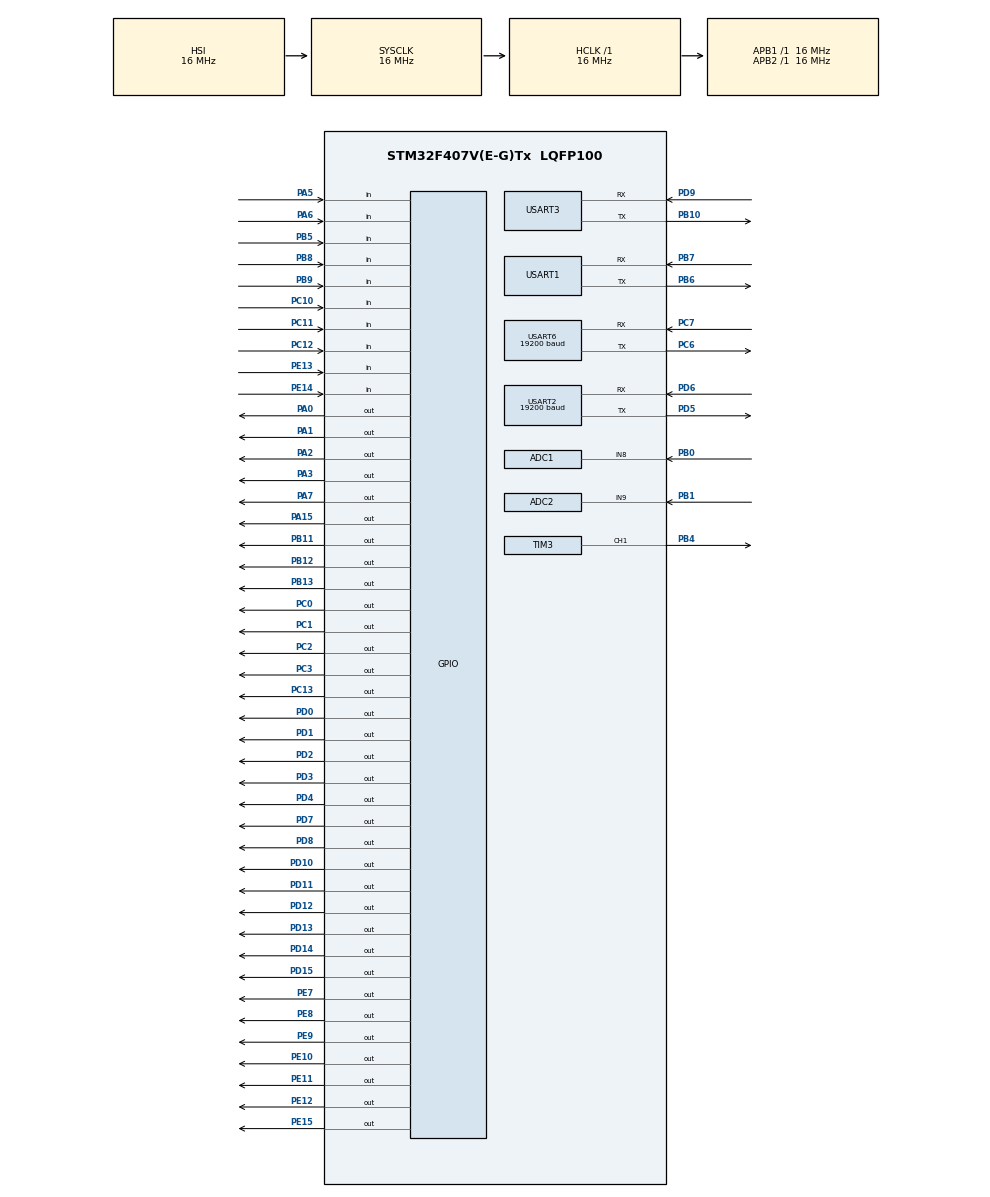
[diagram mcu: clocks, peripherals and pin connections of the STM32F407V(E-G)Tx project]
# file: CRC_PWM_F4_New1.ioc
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ADC1.Channel-0\#ChannelRegularConversion=ADC_CHANNEL_8
ADC1.NbrOfConversionFlag=1
ADC1.Rank-0\#ChannelRegularConversion=1
ADC1.SamplingTime-0\#ChannelRegularConversion=ADC_SAMPLETIME_3CYCLES
ADC1.master=1
ADC2.Channel-5\#ChannelRegularConversion=ADC_CHANNEL_9
ADC2.NbrOfConversionFlag=1
ADC2.Rank-5\#ChannelRegularConversion=1
ADC2.SamplingTime-5\#ChannelRegularConversion=ADC_SAMPLETIME_3CYCLES
Mcu.Family=STM32F4
Mcu.Name=STM32F407V(E-G)Tx
Mcu.Package=LQFP100
NVIC.PriorityGroup=NVIC_PRIORITYGROUP_4
NVIC.USART1_IRQn=true\:0\:0\:false\:false\:true\:true\:true
NVIC.USART2_IRQn=true\:0\:0\:false\:false\:true\:true\:true
NVIC.USART3_IRQn=true\:0\:0\:false\:false\:true\:true\:true
NVIC.USART6_IRQn=true\:0\:0\:false\:false\:true\:true\:true
PA0-WKUP.Signal=GPIO_Output
PA1.Signal=GPIO_Output
PA15.Signal=GPIO_Output
PA2.Signal=GPIO_Output
PA3.Signal=GPIO_Output
PA5.Signal=GPIO_Input
PA6.Signal=GPIO_Input
PA7.Signal=GPIO_Output
PB0.Signal=ADCx_IN8
PB1.Signal=ADCx_IN9
PB10.Mode=Asynchronous
PB10.Signal=USART3_TX
PB11.Signal=GPIO_Output
PB12.Signal=GPIO_Output
PB13.Signal=GPIO_Output
PB4.Signal=S_TIM3_CH1
PB5.Signal=GPIO_Input
PB6.Mode=Asynchronous
PB6.Signal=USART1_TX
PB7.Mode=Asynchronous
PB7.Signal=USART1_RX
PB8.Signal=GPIO_Input
PB9.Signal=GPIO_Input
PC0.Signal=GPIO_Output
PC1.Signal=GPIO_Output
PC10.Signal=GPIO_Input
PC11.Signal=GPIO_Input
PC12.Signal=GPIO_Input
PC13-ANTI_TAMP.Signal=GPIO_Output
PC2.Signal=GPIO_Output
PC3.Signal=GPIO_Output
PC6.Mode=Asynchronous
PC6.Signal=USART6_TX
PC7.Mode=Asynchronous
PC7.Signal=USART6_RX
PD0.Signal=GPIO_Output
PD1.Signal=GPIO_Output
PD10.Signal=GPIO_Output
PD11.Signal=GPIO_Output
PD12.Signal=GPIO_Output
PD13.Signal=GPIO_Output
PD14.Signal=GPIO_Output
PD15.Signal=GPIO_Output
PD2.Signal=GPIO_Output
PD3.Signal=GPIO_Output
PD4.Signal=GPIO_Output
PD5.Mode=Asynchronous
PD5.Signal=USART2_TX
PD6.Mode=Asynchronous
PD6.Signal=USART2_RX
PD7.Signal=GPIO_Output
PD8.Signal=GPIO_Output
PD9.Mode=Asynchronous
PD9.Signal=USART3_RX
PE10.Signal=GPIO_Output
PE11.Signal=GPIO_Output
PE12.Signal=GPIO_Output
PE13.Signal=GPIO_Input
PE14.Signal=GPIO_Input
PE15.Signal=GPIO_Output
PE7.Signal=GPIO_Output
PE8.Signal=GPIO_Output
PE9.Signal=GPIO_Output
ProjectManager.HeapSize=0x200
ProjectManager.StackSize=0x400
ProjectManager.TargetToolchain=TrueSTUDIO
RCC.AHBFreq_Value=16000000
RCC.APB1Freq_Value=16000000
RCC.APB2Freq_Value=16000000
RCC.CortexFreq_Value=16000000
RCC.HSE_VALUE=25000000
RCC.HSI_VALUE=16000000
RCC.LSE_VALUE=32768
RCC.SYSCLKFreq_VALUE=16000000
RCC.VCOOutputFreq_Value=192000000
SH.ADCx_IN8.0=ADC1_IN8,IN8
SH.ADCx_IN9.0=ADC2_IN9,IN9
SH.S_TIM3_CH1.0=TIM3_CH1,PWM Generation1 CH1
TIM3.Channel-PWM\ Generation1\ CH1=TIM_CHANNEL_1
TIM5.Channel-PWM\ Generation2\ CH2=TIM_CHANNEL_2
USART1.VirtualMode=VM_ASYNC
USART2.BaudRate=19200
USART2.VirtualMode=VM_ASYNC
USART3.VirtualMode=VM_ASYNC
USART6.BaudRate=19200
USART6.VirtualMode=VM_ASYNC
VP_CRC_VS_CRC.Mode=CRC_Activate
VP_TIM10_VS_ClockSourceINT.Mode=Enable_Timer
VP_TIM11_VS_ClockSourceINT.Mode=Enable_Timer
VP_TIM13_VS_ClockSourceINT.Mode=Enable_Timer
VP_TIM14_VS_ClockSourceINT.Mode=Enable_Timer
VP_TIM5_VS_OPM.Mode=OPM_bit
board=custom

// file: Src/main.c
/* USER CODE BEGIN Header */
/**
  ******************************************************************************
  * @file           : main.c
  * @brief          : Main program body
  ******************************************************************************
  * @attention
  *
  * <h2><center>&copy; Copyright (c) 2019 STMicroelectronics.
  * All rights reserved.</center></h2>
  *
  * This software component is licensed by ST under BSD 3-Clause license,
  * the "License"; You may not use this file except in compliance with the
  * License. You may obtain a copy of the License at:
  *                        opensource.org/licenses/BSD-3-Clause
  *
  ******************************************************************************
  */
/* USER CODE END Header */

#include "main.h"

ADC_HandleTypeDef hadc1;
ADC_HandleTypeDef hadc2;

CRC_HandleTypeDef hcrc;

TIM_HandleTypeDef htim3;
TIM_HandleTypeDef htim5;
TIM_HandleTypeDef htim10;
TIM_HandleTypeDef htim11;
TIM_HandleTypeDef htim13;
TIM_HandleTypeDef htim14;

UART_HandleTypeDef huart1;
UART_HandleTypeDef huart2;
UART_HandleTypeDef huart3;
UART_HandleTypeDef huart6;

/* USER CODE BEGIN PV */
/* Private variables ---------------------------------------------------------*/
 uint32_t TimingDelay;
uint32_t TimingDelay1;
uint32_t TimingDelay2;
 uint32_t TimingDelay3;
uint32_t TimingDelay4;
uint32_t TimingDelay5;

uint8_t aRxBuffer1[225];
uint8_t aRxBuffer3[225];
uint8_t aRxBuffer4[225];
uint8_t aRxBuffer[225];
int msgUnPrcd;
int msgUnPrcd1;
int msgUnPrcd3;
int msgUnPrcd4;

extern uint8_t RecMsg2[250];
extern uint8_t RecMsg4[250];
int signVal ;
uint8_t Data[100] ;
uint32_t CRCValue ;
extern uint32_t stringInt[25]; // string array to store messege received in uart
uint32_t crcbits;
char crcstring[4];
int commFlag;
int commFlag=0;
extern int slaveNo;
unsigned long AdcVal[17];
int pulse1=0;
extern uint8_t sideNo1;
extern uint8_t sideNo2;
extern uint8_t sideNo3;
extern uint8_t sideNo4;
extern uint8_t sideNo1N;
extern uint8_t sideNo2N;
extern uint8_t sideNo3N;
extern uint8_t sideNo4N;
/* USER CODE END PV */

void SystemClock_Config(void);
static void MX_GPIO_Init(void);
static void MX_USART1_UART_Init(void);
static void MX_USART3_UART_Init(void);
static void MX_USART6_UART_Init(void);
static void MX_TIM14_Init(void);
static void MX_TIM13_Init(void);
static void MX_TIM11_Init(void);
static void MX_TIM10_Init(void);
static void MX_CRC_Init(void);
static void MX_TIM5_Init(void);
static void MX_ADC2_Init(void);
static void MX_TIM3_Init(void);
static void MX_USART2_UART_Init(void);
static void MX_ADC1_Init(void);
/* USER CODE BEGIN PFP */
/* Private function prototypes -----------------------------------------------*/
static void setPWM(TIM_HandleTypeDef, uint32_t, uint16_t, uint16_t);
//extern void outputPin();
extern void inputPin();

void TimingDelay_Decrement();
void TimingDelay_Decrement1();
void TimingDelay_Decrement2();
void TimingDelay_Decrement3();
void TimingDelay_Decrement4();
void TimingDelay_Decrement5();
void SetAdcChannel(unsigned long AdcChannel);

extern uint32_t HAL_CRC_Calculate(CRC_HandleTypeDef *hcrc, uint32_t pBuffer[], uint32_t BufferLength);
extern void transferRecValues(int cnt);
extern void transferRecValuesToData(int cnt);
extern void function6();
extern void function10();
extern void function66();
extern void function6_A();
extern void transferRec1ValuesToData(int cnt);
void setPWMPin(uint8_t  pinValue,uint8_t  pinValue1,uint8_t pulse);
extern void clearingStringIntBuffer();
extern void clearingDataBuffer();
extern void clearBuffer();
extern void	clearaRxBuffer();
extern void byteToIntegerVal(char *dat,uint8_t index);
extern void slaveSelection();
extern void outputPin(uint8_t  pinValue,uint8_t  pinValue1);
extern short msgParse(uint8_t *SPtr , char *sigPtr , short pointer);
extern void checkSide();
extern void clearBuffer4();
extern void clearaRxBuffer4();
extern void checkFeedback();
extern void offAll();
extern void transferRecValuesToDataRecMsg2(int cnt);
/* USER CODE END PFP */

int main(void)
{

  /* MCU Configuration--------------------------------------------------------*/

  /* Reset of all peripherals, Initializes the Flash interface and the Systick. */
  HAL_Init();

  /* Configure the system clock */
  SystemClock_Config();

  /* Initialize all configured peripherals */
  MX_GPIO_Init();
  MX_USART1_UART_Init();
  MX_USART3_UART_Init();
  MX_USART6_UART_Init();
  MX_TIM14_Init();
  MX_TIM13_Init();
  MX_TIM11_Init();
  MX_TIM10_Init();
  MX_CRC_Init();
  MX_TIM5_Init();
  MX_ADC2_Init();
  MX_TIM3_Init();
  MX_USART2_UART_Init();
  MX_ADC1_Init();
  /* USER CODE BEGIN 2 */
//            HAL_UART_Receive_IT(&huart2, (uint8_t *)aRxBuffer,1); // everytime have to enable uart2 interrupt
         	HAL_UART_Receive_IT(&huart1, (uint8_t *)aRxBuffer1,1); // everytime have to enable uart2 interrupt
         	HAL_UART_Receive_IT(&huart3, (uint8_t *)aRxBuffer3,1); // everytime have to enable uart2 interrupt
//         	HAL_UART_Receive_IT(&huart4, (uint8_t *)aRxBuffer4,1); // everytime have to enable uart2 interrupt
//         	HAL_UART_Receive_IT(&huart5, (uint8_t *)aRxBuffer5,1); // everytime have to enable uart2 interrupt
         	 HAL_GPIO_WritePin(GPIOC, GPIO_PIN_13, GPIO_PIN_RESET);

         	HAL_GPIO_WritePin(GPIOC, GPIO_PIN_2, GPIO_PIN_SET);//G2
//         	HAL_GPIO_WritePin(GPIOC, GPIO_PIN_2, GPIO_PIN_RESET);//G2
         	HAL_GPIO_WritePin(GPIOA, GPIO_PIN_15, GPIO_PIN_SET);//G2
//         	HAL_GPIO_WritePin(GPIOA, GPIO_PIN_15, GPIO_PIN_RESET);//G2

         	slaveSelection();
  /* USER CODE END 2 */

  /* Infinite loop */
  /* USER CODE BEGIN WHILE */
  while (1)
  {
		HAL_UART_Receive_IT(&huart2, (uint8_t *)aRxBuffer4,1); // everytime have to enable uart2 interrupt

	  HAL_UART_Receive_IT(&huart6, (uint8_t *)aRxBuffer,1); // everytime have to enable uart6 interrupt
    /* USER CODE END WHILE */

    /* USER CODE BEGIN 3 */
//	  	  setPWM(htim14, TIM_CHANNEL_1, 255, 50);    //PA7
//	  	  setPWM(htim13, TIM_CHANNEL_1, 255, 50);    //PA6
//	  	  setPWM(htim12, TIM_CHANNEL_1, 255, 50);    //PB14
//	  	  setPWM(htim12, TIM_CHANNEL_2, 255, 50);   //PB15
//	  	  setPWM(htim11, TIM_CHANNEL_1, 255, 50);   //PB9
//	  	  setPWM(htim10, TIM_CHANNEL_1, 255, 50);  //PB8
//	  	  setPWM(htim9, TIM_CHANNEL_1, 255, 50);   //PE5
//	  	  setPWM(htim9, TIM_CHANNEL_2, 255, 50);   //PE6
//	  	     HAL_Delay(3000);
//
//	  	      setPWM(htim14, TIM_CHANNEL_1, 255, 100);    //PA7
//	  	      setPWM(htim13, TIM_CHANNEL_1, 255, 100);    //PA6
//	  		  setPWM(htim12, TIM_CHANNEL_1, 255, 100);    //PB14
//	  		  setPWM(htim12, TIM_CHANNEL_2, 255, 100);   //PB15
//	  		  setPWM(htim11, TIM_CHANNEL_1, 255, 100);   //PB9
//	  		  setPWM(htim10, TIM_CHANNEL_1, 255, 100);  //PB8
//	  		  setPWM(htim9, TIM_CHANNEL_1, 255, 100);   //PE5
//	  		  setPWM(htim9, TIM_CHANNEL_2, 255, 100);   //PE6
//	  		  HAL_Delay(3000);
//
//	  			      setPWM(htim14, TIM_CHANNEL_1, 255, 150);    //PA7
//	  			      setPWM(htim13, TIM_CHANNEL_1, 255, 150);    //PA6
//	  				  setPWM(htim12, TIM_CHANNEL_1, 255, 150);    //PB14
//	  				  setPWM(htim12, TIM_CHANNEL_2, 255, 150);   //PB15
//	  				  setPWM(htim11, TIM_CHANNEL_1, 255, 150);   //PB9
//	  				  setPWM(htim10, TIM_CHANNEL_1, 255, 150);  //PB8
//	  				  setPWM(htim9, TIM_CHANNEL_1, 255, 150);   //PE5
//	  				  setPWM(htim9, TIM_CHANNEL_2, 255, 150);   //PE6
//	  				  HAL_Delay(3000);
//
//	  					      setPWM(htim14, TIM_CHANNEL_1, 255, 200);    //PA7
//	  					      setPWM(htim13, TIM_CHANNEL_1, 255, 200);    //PA6
//	  						  setPWM(htim12, TIM_CHANNEL_1, 255, 200);    //PB14
//	  						  setPWM(htim12, TIM_CHANNEL_2, 255, 200);   //PB15
//	  						  setPWM(htim11, TIM_CHANNEL_1, 255, 200);   //PB9
//	  						  setPWM(htim10, TIM_CHANNEL_1, 255, 200);  //PB8
//	  						  setPWM(htim9, TIM_CHANNEL_1, 255, 200);   //PE5
//	  						  setPWM(htim9, TIM_CHANNEL_2, 255, 200);   //PE6
//	  						  HAL_Delay(3000);
//
//	  							      setPWM(htim14, TIM_CHANNEL_1, 255, 250);    //PA7
//	  							      setPWM(htim13, TIM_CHANNEL_1, 255, 250);    //PA6
//	  								  setPWM(htim12, TIM_CHANNEL_1, 255, 250);    //PB14
//	  								  setPWM(htim12, TIM_CHANNEL_2, 255, 250);   //PB15
//	  								  setPWM(htim11, TIM_CHANNEL_1, 255, 250);   //PB9
//	  								  setPWM(htim10, TIM_CHANNEL_1, 255, 250);  //PB8
//	  								  setPWM(htim9, TIM_CHANNEL_1, 255, 250);   //PE5
//	  								  setPWM(htim9, TIM_CHANNEL_2, 255, 250);   //PE6
//	  								  HAL_Delay(3000);

//	  checkFeedback();
//	  /*----------------------------slave1 new-----------------------------------------*/
////	 /*uart6*/
//	if(msgUnPrcd==1)
//	 /*uart2*/
	if(msgUnPrcd4==1)
	{

//	functionRec=0;
	signVal=msgParse((uint8_t *)RecMsg4,"}}",0); //for slave
	//					  		signVal=msgParse((uint8_t *)RecMsg2,"~~~~",0);  //for master
	if(!(signVal==0))
	{
      transferRecValuesToData(19);
	  byteToIntegerVal(&Data[0],0);
	  CRCValue = HAL_CRC_Calculate(&hcrc,(uint32_t *)stringInt, 8);
	  crcbits =	CRCValue;

	  crcstring[0] = crcbits & 0xFF;

	  crcstring[1] = (crcbits >> 8) & 0xFF;

	  crcstring[2] = (crcbits >> 16) & 0xFF;

	  crcstring[3] = (crcbits >> 24) & 0xFF;
	  //					  		CRC_ResetDR();
	  /*-------------------------slave side-----------------------------------*/
	 //					  		if(RecMsg2[10] == crcstring[3])
	 //					  		{
	 //					  		if(RecMsg2[11] == crcstring[2])
	 //					  		{
	 //					  		if(RecMsg2[12] == crcstring[1])
	 //					  		{
	 //					  		if(RecMsg2[13] == crcstring[0])
	 if(RecMsg4[20] == crcstring[3])
	 {
	if(RecMsg4[21] == crcstring[2])
	 {
	 if(RecMsg4[22] == crcstring[1])
	 {
	 if(RecMsg4[23] == crcstring[0]){

		 if(RecMsg4[10]==slaveNo)
		 {
	HAL_GPIO_TogglePin(GPIOE, GPIO_PIN_3);//master
//	function6_A();//usart6
			 checkSide();
			 if(slaveNo==1){
			 setPWMPin(sideNo1,sideNo3,RecMsg4[8]);//pin1 pin2 pwm
			 }
			 if(slaveNo==2){
			 setPWMPin(sideNo1,sideNo2,RecMsg4[8]);//pin1 pin2 pwm
			 }
			 if(slaveNo==3){
//			 setPWMPin(sideNo3N,sideNo3N,RecMsg4[8]);//pin1 pin2 pwm
//				 setPWMPin(sideNo3N,sideNo3N,RecMsg4[8]);//pin1 pin2 pwm
				 setPWMPin(sideNo3N,sideNo3N,RecMsg4[8]);//pin1 pin2 pwm
			 }
			 if(slaveNo==4){
			 setPWMPin(sideNo4,sideNo4,RecMsg4[8]);//pin1 pin2 pwm
			 }

			 checkFeedback();
	function10();

		 }
//	millisec1=0;
	commFlag=1;

		  			//function6_A(); ///slave1
	 /*---------master-----------*/
	//						  			if(commFlag==0)
	//						  			{
	//						  			function6(); //master
	//						  			}
	//						  			if(RecMsg2[9]==0x09){
	////						  				function66();
   //						  				commFlag=1;
   //						  			}
	  	  }

	  	}
	  	 }
	  	 }
	  	  		 // clearingRecBuffer();
	  	//						  		commFlag=1;
//	  	  	sec=0;
	  	  	msgUnPrcd4=0;

	  	  	}

	 //		  			  	signVal=msgParse((uint8_t *)RecMsg2,"~~~~",0);
	  	 //		  			  if (!(signVal == 0 )){
	  	 //		  			  			// transferDataValues(signVal);
	  	//		  				checkMsgLengthForUart2();
	  	//		  			  	HAL_UART_Transmit (&huart1, (uint8_t*)RecMsg2,recCnt1,5000) ;
	  	  		//		  			  		  			  		}
	    clearBuffer4();
	    clearaRxBuffer4();
	    msgUnPrcd4=0;
	  	//	transmit();
     }

/*-------------------------LORA (uart6)-----------------------*/
	if(msgUnPrcd==1)
	{

//	functionRec=0;
	signVal=msgParse((uint8_t *)RecMsg2,"}}",0); //for slave
	//					  		signVal=msgParse((uint8_t *)RecMsg2,"~~~~",0);  //for master
	if(!(signVal==0))
	{
	  transferRecValuesToDataRecMsg2(19);
	  byteToIntegerVal(&Data[0],0);
	  CRCValue = HAL_CRC_Calculate(&hcrc,(uint32_t *)stringInt, 8);
	  crcbits =	CRCValue;

	  crcstring[0] = crcbits & 0xFF;

	  crcstring[1] = (crcbits >> 8) & 0xFF;

	  crcstring[2] = (crcbits >> 16) & 0xFF;

	  crcstring[3] = (crcbits >> 24) & 0xFF;
	  //					  		CRC_ResetDR();
	  /*-------------------------slave side-----------------------------------*/
	 //					  		if(RecMsg2[10] == crcstring[3])
	 //					  		{
	 //					  		if(RecMsg2[11] == crcstring[2])
	 //					  		{
	 //					  		if(RecMsg2[12] == crcstring[1])
	 //					  		{
	 //					  		if(RecMsg2[13] == crcstring[0])
	 if(RecMsg2[20] == crcstring[3])
	 {
	if(RecMsg2[21] == crcstring[2])
	 {
	 if(RecMsg2[22] == crcstring[1])
	 {
	 if(RecMsg2[23] == crcstring[0]){

		 if(RecMsg2[10]==slaveNo)
		 {
	HAL_GPIO_TogglePin(GPIOE, GPIO_PIN_3);//master
//	function6_A();//usart6
			 checkSide();
			 if(slaveNo==1){
			 setPWMPin(sideNo1,sideNo3,RecMsg2[8]);//pin1 pin2 pwm
			 }
			 if(slaveNo==2){
			 setPWMPin(sideNo2,sideNo4,RecMsg2[8]);//pin1 pin2 pwm
			 }
			 if(slaveNo==3){
//			 setPWMPin(sideNo3N,sideNo3N,RecMsg4[8]);//pin1 pin2 pwm
				 setPWMPin(sideNo3,sideNo1,RecMsg2[8]);//pin1 pin2 pwm
			 }
			 if(slaveNo==4){
			 setPWMPin(sideNo4,sideNo2,RecMsg2[8]);//pin1 pin2 pwm
			 }

			 checkFeedback();
	function10();

		 }
//	millisec1=0;
	commFlag=1;

		  			//function6_A(); ///slave1
	 /*---------master-----------*/
	//						  			if(commFlag==0)
	//						  			{
	//						  			function6(); //master
	//						  			}
	//						  			if(RecMsg2[9]==0x09){
	////						  				function66();
   //						  				commFlag=1;
   //						  			}
	  	  }

	  	}
	  	 }
	  	 }
	  	  		 // clearingRecBuffer();
	  	//						  		commFlag=1;
//	  	  	sec=0;
	  	  	msgUnPrcd=0;

	  	  	}

	 //		  			  	signVal=msgParse((uint8_t *)RecMsg2,"~~~~",0);
	  	 //		  			  if (!(signVal == 0 )){
	  	 //		  			  			// transferDataValues(signVal);
	  	//		  				checkMsgLengthForUart2();
	  	//		  			  	HAL_UART_Transmit (&huart1, (uint8_t*)RecMsg2,recCnt1,5000) ;
	  	  		//		  			  		  			  		}
	    clearBuffer();
	    clearaRxBuffer();
	    msgUnPrcd=0;
	  	//	transmit();
     }

	   if(commFlag==1){
//	  	  function66();
	  	 commFlag++;
	  	 }

	   if(commFlag==3){
	  		commFlag=0;
	   }

///*--------------------------------------------slave2-----------------------------------------*/
//	  /*uart1 PA10 & PA9*/
//	 	if(msgUnPrcd1==1)
//	  	{
//
//
//	  	  signVal=msgParse((uint8_t *)RecMsg1,"}",0); //for slave
//	//					  		signVal=msgParse((uint8_t *)RecMsg2,"~~~~",0);  //for master
//	  	if(!(signVal==0))
//	  	{
//	  		signVal=signVal-6;
//	  	  	transferRec1ValuesToData(signVal);
////	  	  Data[0]=0x01 ;//Timming
////	  	Data[1]=0x01 ;//intensity
////	  	Data[2]=0x02;//GPO
////	  	Data[3]=0x03;//TBD
////	  	Data[4]=0x05;//TBD
////	  	Data[5]=0x04;//TBD
////	  	  transferRec1ValuesToData(0);
//	  	    byteToIntegerVal(&Data[0],0);
//	  	  	CRCValue = HAL_CRC_Calculate(&hcrc,(uint32_t *)stringInt, 8);
//	  	  	crcbits =	CRCValue;
//
//	  	  	crcstring[0] = crcbits & 0xFF;
//
//	  	    crcstring[1] = (crcbits >> 8) & 0xFF;
//
//	  	    crcstring[2] = (crcbits >> 16) & 0xFF;
//
//	  	   crcstring[3] = (crcbits >> 24) & 0xFF;
//	  	//					  		CRC_ResetDR();
//	   /*-------------------------slave side-----------------------------------*/
//	 //					  		if(RecMsg2[10] == crcstring[3])
//	 //					  		{
//	 //					  		if(RecMsg2[11] == crcstring[2])
//	//					  		{
//	//					  		if(RecMsg2[12] == crcstring[1])
//	//					  		{
//	//					  		if(RecMsg2[13] == crcstring[0])
//	/*-------------------------master side----------------------------------*/
////	  	 function66();
//	  	if(RecMsg1[6] == crcstring[3])
//	  	  {
//	    if(RecMsg1[7] == crcstring[2])
//	  	  {
//	  	if(RecMsg1[8] == crcstring[1])
//	  	  {
//	    if(RecMsg1[9] == crcstring[0]){
//	  	//					  			function6_A(); ///slave
//	 HAL_GPIO_TogglePin(GPIOC, GPIO_PIN_8);//master
//	 //			  			function66();//slave2
//	//				  			if(RecMsg1[9]==0x08){ //slave1
//	//				  				commFlag=0x04;
////	  		if((commFlag>1)&&(commFlag<3)){
//	  	  	function66();
//	  	  pinValue1=RecMsg1[0];
//		  pinValue2=RecMsg1[1];
//	  	  pulseVal =RecMsg1[2];
//	  	  	if((pulseVal != pulseValLast)||(pinValue1 !=pinValue1Last)||(pinValue2 !=pinValue2Last))
//	  	  	{
//	  	  	pulseValLast=pulseVal;
//	  	  pinValue1Last=pinValue1;
//	  	pinValue2Last=pinValue2;
//
////	  	  pulseCnt++;
////	  	  if(pulseCnt>15){
////	  		pulseVal=0;
////	  		pulseVal=pulseVal+25;
//	  		setPWMPin(RecMsg1[0],RecMsg1[1],RecMsg1[2]);
//	  	  	}
////	  		if(pulseVal>250){
////	  			  		pulseVal=25;
////	  			  	}
////	  		pulseCnt=0;
////	  	  }
//
////	  	setPWMPin(pulseVal);
////	  	pulseVal=pulseVal+2;
////	  	if(pulseVal==250){
////	  		pulseVal=2;
////	  	}
////	  	  commFlag++;
//
////	  	}
//
//	  	  									       	//				  			}
//
//	  	  									       					  			//function6(); //master
//	  	  									       		//			  			if(RecMsg2[9]==0x09){
//	  	  									       		//			  				function66();
//	  	  									       		//			  			}
//	  	  									       					  		}
//
//	  	  									       				  		}
//	  	  									       				  		}
//	  	  									       				  		}
//	  	  									       				  		 // clearingRecBuffer();
//	  	  									       					  	//	commFlag=1;
//	  	  									       					  		sec=0;
//	  	  									       					  		msgUnPrcd1=0;
//
//	  	  									       				  				}
//
//
//
////	  	clearingStringIntBuffer();
//	  	clearingDataBuffer();
//	  	clearBuffer1();
//	  	clearaRxBuffer1();
//	  	msgUnPrcd1=0;
//	  	  									       							//	transmit();
//	  	}
//
//	 	/*--------------------------------------------slave2-----------------------------------------*/
/*-------------------ADC---------------------------*/

//	   HAL_GPIO_WritePin(GPIOE, GPIO_PIN_7, GPIO_PIN_RESET);//a
//	   HAL_GPIO_WritePin(GPIOE, GPIO_PIN_8, GPIO_PIN_SET);//b
//	   HAL_GPIO_WritePin(GPIOE, GPIO_PIN_9, GPIO_PIN_SET);//c
////for channel 6
//
//	   SetAdcChannel(ADC_CHANNEL_9);
//	   HAL_ADC_Start(&hadc2);
//	   HAL_ADC_PollForConversion(&hadc2,100);
//
//
//
//	   AdcVal = HAL_ADC_GetValue(&hadc2);

  /* USER CODE BEGIN 3 */

  }
  /* USER CODE END 3 */
}

void SystemClock_Config(void)
{
  RCC_OscInitTypeDef RCC_OscInitStruct = {0};
  RCC_ClkInitTypeDef RCC_ClkInitStruct = {0};

  /** Configure the main internal regulator output voltage
  */
  __HAL_RCC_PWR_CLK_ENABLE();
  __HAL_PWR_VOLTAGESCALING_CONFIG(PWR_REGULATOR_VOLTAGE_SCALE1);
  /** Initializes the CPU, AHB and APB busses clocks
  */
  RCC_OscInitStruct.OscillatorType = RCC_OSCILLATORTYPE_HSI;
  RCC_OscInitStruct.HSIState = RCC_HSI_ON;
  RCC_OscInitStruct.HSICalibrationValue = RCC_HSICALIBRATION_DEFAULT;
  RCC_OscInitStruct.PLL.PLLState = RCC_PLL_NONE;
  if (HAL_RCC_OscConfig(&RCC_OscInitStruct) != HAL_OK)
  {
    Error_Handler();
  }
  /** Initializes the CPU, AHB and APB busses clocks
  */
  RCC_ClkInitStruct.ClockType = RCC_CLOCKTYPE_HCLK|RCC_CLOCKTYPE_SYSCLK
                              |RCC_CLOCKTYPE_PCLK1|RCC_CLOCKTYPE_PCLK2;
  RCC_ClkInitStruct.SYSCLKSource = RCC_SYSCLKSOURCE_HSI;
  RCC_ClkInitStruct.AHBCLKDivider = RCC_SYSCLK_DIV1;
  RCC_ClkInitStruct.APB1CLKDivider = RCC_HCLK_DIV1;
  RCC_ClkInitStruct.APB2CLKDivider = RCC_HCLK_DIV1;

  if (HAL_RCC_ClockConfig(&RCC_ClkInitStruct, FLASH_LATENCY_0) != HAL_OK)
  {
    Error_Handler();
  }
}

static void MX_ADC1_Init(void)
{

  ADC_ChannelConfTypeDef sConfig = {0};

  /** Configure the global features of the ADC (Clock, Resolution, Data Alignment and number of conversion)
  */
  hadc1.Instance = ADC1;
  hadc1.Init.ClockPrescaler = ADC_CLOCK_SYNC_PCLK_DIV2;
  hadc1.Init.Resolution = ADC_RESOLUTION_12B;
  hadc1.Init.ScanConvMode = DISABLE;
  hadc1.Init.ContinuousConvMode = DISABLE;
  hadc1.Init.DiscontinuousConvMode = DISABLE;
  hadc1.Init.ExternalTrigConvEdge = ADC_EXTERNALTRIGCONVEDGE_NONE;
  hadc1.Init.ExternalTrigConv = ADC_SOFTWARE_START;
  hadc1.Init.DataAlign = ADC_DATAALIGN_RIGHT;
  hadc1.Init.NbrOfConversion = 1;
  hadc1.Init.DMAContinuousRequests = DISABLE;
  hadc1.Init.EOCSelection = ADC_EOC_SINGLE_CONV;
  if (HAL_ADC_Init(&hadc1) != HAL_OK)
  {
    Error_Handler();
  }
  /** Configure for the selected ADC regular channel its corresponding rank in the sequencer and its sample time.
  */
  sConfig.Channel = ADC_CHANNEL_8;
  sConfig.Rank = 1;
  sConfig.SamplingTime = ADC_SAMPLETIME_3CYCLES;
  if (HAL_ADC_ConfigChannel(&hadc1, &sConfig) != HAL_OK)
  {
    Error_Handler();
  }

}

static void MX_ADC2_Init(void)
{

  ADC_ChannelConfTypeDef sConfig = {0};

  /** Configure the global features of the ADC (Clock, Resolution, Data Alignment and number of conversion)
  */
  hadc2.Instance = ADC2;
  hadc2.Init.ClockPrescaler = ADC_CLOCK_SYNC_PCLK_DIV2;
  hadc2.Init.Resolution = ADC_RESOLUTION_12B;
  hadc2.Init.ScanConvMode = DISABLE;
  hadc2.Init.ContinuousConvMode = DISABLE;
  hadc2.Init.DiscontinuousConvMode = DISABLE;
  hadc2.Init.ExternalTrigConvEdge = ADC_EXTERNALTRIGCONVEDGE_NONE;
  hadc2.Init.ExternalTrigConv = ADC_SOFTWARE_START;
  hadc2.Init.DataAlign = ADC_DATAALIGN_RIGHT;
  hadc2.Init.NbrOfConversion = 1;
  hadc2.Init.DMAContinuousRequests = DISABLE;
  hadc2.Init.EOCSelection = ADC_EOC_SINGLE_CONV;
  if (HAL_ADC_Init(&hadc2) != HAL_OK)
  {
    Error_Handler();
  }
  /** Configure for the selected ADC regular channel its corresponding rank in the sequencer and its sample time.
  */
  sConfig.Channel = ADC_CHANNEL_9;
  sConfig.Rank = 1;
  sConfig.SamplingTime = ADC_SAMPLETIME_3CYCLES;
  if (HAL_ADC_ConfigChannel(&hadc2, &sConfig) != HAL_OK)
  {
    Error_Handler();
  }

}

static void MX_CRC_Init(void)
{

  hcrc.Instance = CRC;
  if (HAL_CRC_Init(&hcrc) != HAL_OK)
  {
    Error_Handler();
  }

}

static void MX_TIM3_Init(void)
{

  TIM_MasterConfigTypeDef sMasterConfig = {0};
  TIM_OC_InitTypeDef sConfigOC = {0};

  htim3.Instance = TIM3;
  htim3.Init.Prescaler = 0;
  htim3.Init.CounterMode = TIM_COUNTERMODE_UP;
  htim3.Init.Period = 0;
  htim3.Init.ClockDivision = TIM_CLOCKDIVISION_DIV1;
  htim3.Init.AutoReloadPreload = TIM_AUTORELOAD_PRELOAD_DISABLE;
  if (HAL_TIM_PWM_Init(&htim3) != HAL_OK)
  {
    Error_Handler();
  }
  sMasterConfig.MasterOutputTrigger = TIM_TRGO_RESET;
  sMasterConfig.MasterSlaveMode = TIM_MASTERSLAVEMODE_DISABLE;
  if (HAL_TIMEx_MasterConfigSynchronization(&htim3, &sMasterConfig) != HAL_OK)
  {
    Error_Handler();
  }
  sConfigOC.OCMode = TIM_OCMODE_PWM1;
  sConfigOC.Pulse = 0;
  sConfigOC.OCPolarity = TIM_OCPOLARITY_HIGH;
  sConfigOC.OCFastMode = TIM_OCFAST_DISABLE;
  if (HAL_TIM_PWM_ConfigChannel(&htim3, &sConfigOC, TIM_CHANNEL_1) != HAL_OK)
  {
    Error_Handler();
  }
  HAL_TIM_MspPostInit(&htim3);

}

static void MX_TIM5_Init(void)
{

  htim5.Instance = TIM5;
  htim5.Init.Prescaler = 0;
  htim5.Init.CounterMode = TIM_COUNTERMODE_UP;
  htim5.Init.Period = 0;
  htim5.Init.ClockDivision = TIM_CLOCKDIVISION_DIV1;
  htim5.Init.AutoReloadPreload = TIM_AUTORELOAD_PRELOAD_DISABLE;
  if (HAL_TIM_OnePulse_Init(&htim5, TIM_OPMODE_SINGLE) != HAL_OK)
  {
    Error_Handler();
  }

}

static void MX_TIM10_Init(void)
{

  htim10.Instance = TIM10;
  htim10.Init.Prescaler = 0;
  htim10.Init.CounterMode = TIM_COUNTERMODE_UP;
  htim10.Init.Period = 0;
  htim10.Init.ClockDivision = TIM_CLOCKDIVISION_DIV1;
  htim10.Init.AutoReloadPreload = TIM_AUTORELOAD_PRELOAD_DISABLE;
  if (HAL_TIM_Base_Init(&htim10) != HAL_OK)
  {
    Error_Handler();
  }

}

static void MX_TIM11_Init(void)
{

  htim11.Instance = TIM11;
  htim11.Init.Prescaler = 0;
  htim11.Init.CounterMode = TIM_COUNTERMODE_UP;
  htim11.Init.Period = 0;
  htim11.Init.ClockDivision = TIM_CLOCKDIVISION_DIV1;
  htim11.Init.AutoReloadPreload = TIM_AUTORELOAD_PRELOAD_DISABLE;
  if (HAL_TIM_Base_Init(&htim11) != HAL_OK)
  {
    Error_Handler();
  }

}

static void MX_TIM13_Init(void)
{

  htim13.Instance = TIM13;
  htim13.Init.Prescaler = 0;
  htim13.Init.CounterMode = TIM_COUNTERMODE_UP;
  htim13.Init.Period = 0;
  htim13.Init.ClockDivision = TIM_CLOCKDIVISION_DIV1;
  htim13.Init.AutoReloadPreload = TIM_AUTORELOAD_PRELOAD_DISABLE;
  if (HAL_TIM_Base_Init(&htim13) != HAL_OK)
  {
    Error_Handler();
  }

}

static void MX_TIM14_Init(void)
{

  htim14.Instance = TIM14;
  htim14.Init.Prescaler = 0;
  htim14.Init.CounterMode = TIM_COUNTERMODE_UP;
  htim14.Init.Period = 0;
  htim14.Init.ClockDivision = TIM_CLOCKDIVISION_DIV1;
  htim14.Init.AutoReloadPreload = TIM_AUTORELOAD_PRELOAD_DISABLE;
  if (HAL_TIM_Base_Init(&htim14) != HAL_OK)
  {
    Error_Handler();
  }

}

static void MX_USART1_UART_Init(void)
{

  huart1.Instance = USART1;
  huart1.Init.BaudRate = 115200;
  huart1.Init.WordLength = UART_WORDLENGTH_8B;
  huart1.Init.StopBits = UART_STOPBITS_1;
  huart1.Init.Parity = UART_PARITY_NONE;
  huart1.Init.Mode = UART_MODE_TX_RX;
  huart1.Init.HwFlowCtl = UART_HWCONTROL_NONE;
  huart1.Init.OverSampling = UART_OVERSAMPLING_16;
  if (HAL_UART_Init(&huart1) != HAL_OK)
  {
    Error_Handler();
  }

}

static void MX_USART2_UART_Init(void)
{

  huart2.Instance = USART2;
  huart2.Init.BaudRate = 19200;
  huart2.Init.WordLength = UART_WORDLENGTH_8B;
  huart2.Init.StopBits = UART_STOPBITS_1;
  huart2.Init.Parity = UART_PARITY_NONE;
  huart2.Init.Mode = UART_MODE_TX_RX;
  huart2.Init.HwFlowCtl = UART_HWCONTROL_NONE;
  huart2.Init.OverSampling = UART_OVERSAMPLING_16;
  if (HAL_UART_Init(&huart2) != HAL_OK)
  {
    Error_Handler();
  }

}

static void MX_USART3_UART_Init(void)
{

  huart3.Instance = USART3;
  huart3.Init.BaudRate = 115200;
  huart3.Init.WordLength = UART_WORDLENGTH_8B;
  huart3.Init.StopBits = UART_STOPBITS_1;
  huart3.Init.Parity = UART_PARITY_NONE;
  huart3.Init.Mode = UART_MODE_TX_RX;
  huart3.Init.HwFlowCtl = UART_HWCONTROL_NONE;
  huart3.Init.OverSampling = UART_OVERSAMPLING_16;
  if (HAL_UART_Init(&huart3) != HAL_OK)
  {
    Error_Handler();
  }

}

static void MX_USART6_UART_Init(void)
{

  huart6.Instance = USART6;
  huart6.Init.BaudRate = 19200;
  huart6.Init.WordLength = UART_WORDLENGTH_8B;
  huart6.Init.StopBits = UART_STOPBITS_1;
  huart6.Init.Parity = UART_PARITY_NONE;
  huart6.Init.Mode = UART_MODE_TX_RX;
  huart6.Init.HwFlowCtl = UART_HWCONTROL_NONE;
  huart6.Init.OverSampling = UART_OVERSAMPLING_16;
  if (HAL_UART_Init(&huart6) != HAL_OK)
  {
    Error_Handler();
  }

}

static void MX_GPIO_Init(void)
{
  GPIO_InitTypeDef GPIO_InitStruct = {0};

  /* GPIO Ports Clock Enable */
  __HAL_RCC_GPIOC_CLK_ENABLE();
  __HAL_RCC_GPIOA_CLK_ENABLE();
  __HAL_RCC_GPIOB_CLK_ENABLE();
  __HAL_RCC_GPIOE_CLK_ENABLE();
  __HAL_RCC_GPIOD_CLK_ENABLE();

  /*Configure GPIO pin Output Level */
  HAL_GPIO_WritePin(GPIOC, GPIO_PIN_13|GPIO_PIN_0|GPIO_PIN_1|GPIO_PIN_2
                          |GPIO_PIN_3, GPIO_PIN_RESET);

  /*Configure GPIO pin Output Level */
  HAL_GPIO_WritePin(GPIOA, GPIO_PIN_0|GPIO_PIN_1|GPIO_PIN_2|GPIO_PIN_3
                          |GPIO_PIN_7|GPIO_PIN_15, GPIO_PIN_RESET);

  /*Configure GPIO pin Output Level */
  HAL_GPIO_WritePin(GPIOE, GPIO_PIN_7|GPIO_PIN_8|GPIO_PIN_9|GPIO_PIN_10
                          |GPIO_PIN_11|GPIO_PIN_12|GPIO_PIN_15, GPIO_PIN_RESET);

  /*Configure GPIO pin Output Level */
  HAL_GPIO_WritePin(GPIOB, GPIO_PIN_11|GPIO_PIN_12|GPIO_PIN_13, GPIO_PIN_RESET);

  /*Configure GPIO pin Output Level */
  HAL_GPIO_WritePin(GPIOD, GPIO_PIN_8|GPIO_PIN_10|GPIO_PIN_11|GPIO_PIN_12
                          |GPIO_PIN_13|GPIO_PIN_14|GPIO_PIN_15|GPIO_PIN_0
                          |GPIO_PIN_1|GPIO_PIN_2|GPIO_PIN_3|GPIO_PIN_4
                          |GPIO_PIN_7, GPIO_PIN_RESET);

  /*Configure GPIO pins : PC13 PC0 PC1 PC2
                           PC3 */
  GPIO_InitStruct.Pin = GPIO_PIN_13|GPIO_PIN_0|GPIO_PIN_1|GPIO_PIN_2
                          |GPIO_PIN_3;
  GPIO_InitStruct.Mode = GPIO_MODE_OUTPUT_PP;
  GPIO_InitStruct.Pull = GPIO_NOPULL;
  GPIO_InitStruct.Speed = GPIO_SPEED_FREQ_LOW;
  HAL_GPIO_Init(GPIOC, &GPIO_InitStruct);

  /*Configure GPIO pins : PA0 PA1 PA2 PA3
                           PA7 PA15 */
  GPIO_InitStruct.Pin = GPIO_PIN_0|GPIO_PIN_1|GPIO_PIN_2|GPIO_PIN_3
                          |GPIO_PIN_7|GPIO_PIN_15;
  GPIO_InitStruct.Mode = GPIO_MODE_OUTPUT_PP;
  GPIO_InitStruct.Pull = GPIO_NOPULL;
  GPIO_InitStruct.Speed = GPIO_SPEED_FREQ_LOW;
  HAL_GPIO_Init(GPIOA, &GPIO_InitStruct);

  /*Configure GPIO pins : PA5 PA6 */
  GPIO_InitStruct.Pin = GPIO_PIN_5|GPIO_PIN_6;
  GPIO_InitStruct.Mode = GPIO_MODE_INPUT;
  GPIO_InitStruct.Pull = GPIO_NOPULL;
  HAL_GPIO_Init(GPIOA, &GPIO_InitStruct);

  /*Configure GPIO pins : PE7 PE8 PE9 PE10
                           PE11 PE12 PE15 */
  GPIO_InitStruct.Pin = GPIO_PIN_7|GPIO_PIN_8|GPIO_PIN_9|GPIO_PIN_10
                          |GPIO_PIN_11|GPIO_PIN_12|GPIO_PIN_15;
  GPIO_InitStruct.Mode = GPIO_MODE_OUTPUT_PP;
  GPIO_InitStruct.Pull = GPIO_NOPULL;
  GPIO_InitStruct.Speed = GPIO_SPEED_FREQ_LOW;
  HAL_GPIO_Init(GPIOE, &GPIO_InitStruct);

  /*Configure GPIO pins : PE13 PE14 */
  GPIO_InitStruct.Pin = GPIO_PIN_13|GPIO_PIN_14;
  GPIO_InitStruct.Mode = GPIO_MODE_INPUT;
  GPIO_InitStruct.Pull = GPIO_NOPULL;
  HAL_GPIO_Init(GPIOE, &GPIO_InitStruct);

  /*Configure GPIO pins : PB11 PB12 PB13 */
  GPIO_InitStruct.Pin = GPIO_PIN_11|GPIO_PIN_12|GPIO_PIN_13;
  GPIO_InitStruct.Mode = GPIO_MODE_OUTPUT_PP;
  GPIO_InitStruct.Pull = GPIO_NOPULL;
  GPIO_InitStruct.Speed = GPIO_SPEED_FREQ_LOW;
  HAL_GPIO_Init(GPIOB, &GPIO_InitStruct);

  /*Configure GPIO pins : PD8 PD10 PD11 PD12
                           PD13 PD14 PD15 PD0
                           PD1 PD2 PD3 PD4
                           PD7 */
  GPIO_InitStruct.Pin = GPIO_PIN_8|GPIO_PIN_10|GPIO_PIN_11|GPIO_PIN_12
                          |GPIO_PIN_13|GPIO_PIN_14|GPIO_PIN_15|GPIO_PIN_0
                          |GPIO_PIN_1|GPIO_PIN_2|GPIO_PIN_3|GPIO_PIN_4
                          |GPIO_PIN_7;
  GPIO_InitStruct.Mode = GPIO_MODE_OUTPUT_PP;
  GPIO_InitStruct.Pull = GPIO_NOPULL;
  GPIO_InitStruct.Speed = GPIO_SPEED_FREQ_LOW;
  HAL_GPIO_Init(GPIOD, &GPIO_InitStruct);

  /*Configure GPIO pins : PC10 PC11 PC12 */
  GPIO_InitStruct.Pin = GPIO_PIN_10|GPIO_PIN_11|GPIO_PIN_12;
  GPIO_InitStruct.Mode = GPIO_MODE_INPUT;
  GPIO_InitStruct.Pull = GPIO_NOPULL;
  HAL_GPIO_Init(GPIOC, &GPIO_InitStruct);

  /*Configure GPIO pins : PB5 PB8 PB9 */
  GPIO_InitStruct.Pin = GPIO_PIN_5|GPIO_PIN_8|GPIO_PIN_9;
  GPIO_InitStruct.Mode = GPIO_MODE_INPUT;
  GPIO_InitStruct.Pull = GPIO_NOPULL;
  HAL_GPIO_Init(GPIOB, &GPIO_InitStruct);

}

/* USER CODE BEGIN 4 */
void setPWM(TIM_HandleTypeDef timer, uint32_t channel, uint16_t period,uint16_t pulse)
{
 HAL_TIM_PWM_Stop(&timer, channel); // stop generation of pwm
 TIM_OC_InitTypeDef sConfigOC;
// timer.Init.Period = period; // set the period duration
// HAL_TIM_PWM_Init(&timer); // re-inititialise with new period value
 sConfigOC.OCMode = TIM_OCMODE_PWM1;
 sConfigOC.Pulse = pulse; // set the pulse duration
 sConfigOC.OCPolarity = TIM_OCPOLARITY_HIGH;
 sConfigOC.OCFastMode = TIM_OCFAST_DISABLE;
 HAL_TIM_PWM_ConfigChannel(&timer, &sConfigOC, channel);
 HAL_TIM_PWM_Start(&timer, channel); // start pwm generation
}

void TimingDelay_Decrement(void)
{
  if (TimingDelay != 0x00)
  {
    TimingDelay--;
  }
}
void TimingDelay_Decrement1(void)
{
  if (TimingDelay1 != 0x00)
  {
    TimingDelay1--;
  }
}
void TimingDelay_Decrement2(void)
{
  if (TimingDelay2 != 0x00)
  {
    TimingDelay2--;
  }
}
void TimingDelay_Decrement3(void)
{
  if (TimingDelay3 != 0x00)
  {
    TimingDelay3--;
  }
}
void TimingDelay_Decrement4(void)
{
  if (TimingDelay4 != 0x00)
  {
    TimingDelay4--;
  }
}
void TimingDelay_Decrement5(void)
{
  if (TimingDelay5 != 0x00)
  {
    TimingDelay5--;
  }
}

void setPWMPin(uint8_t  pinValue,uint8_t  pinValue1,uint8_t pulse)
{
/*---------------set PWM pin-----------------------------*/
	if(!(RecMsg4[8]==pulse1)){

		pulse1=RecMsg4[8];

		if(pulse1==1){
		 setPWM(htim3, TIM_CHANNEL_1, 255, 400);    //PB4
		}
		if(pulse1==2){
		 setPWM(htim3, TIM_CHANNEL_1, 255, 600);    //PB4
		}
		if(pulse1==3){
		 setPWM(htim3, TIM_CHANNEL_1, 255, 1000);    //PB4
		}

	}

//	/*--------------LORA uart6--------*/
//	if(!(RecMsg2[8]==pulse1)){
//		 setPWM(htim3, TIM_CHANNEL_1, 255, 500);    //PB4
//			pulse1=RecMsg4[8];
//	}
//		 setPWM(htim2, TIM_CHANNEL_2, 255, 200);    //PB3

	 offAll();

	 /*---------------------------for primary and secondary--------------------------*/
	 /*--------------green1 and green2-----------------*/
	 		 if(( pinValue & 0x33 )== 0x33)
	 		 {
	 		 //			 setPWM(htim14, TIM_CHANNEL_1, 255, pulse);    //PA7
	 		 			HAL_GPIO_WritePin(GPIOD, GPIO_PIN_0, GPIO_PIN_SET);//G2
	 		 			HAL_GPIO_WritePin(GPIOD, GPIO_PIN_4, GPIO_PIN_SET);//G2
	 		 			HAL_GPIO_WritePin(GPIOD, GPIO_PIN_1, GPIO_PIN_SET);//G1
	 		 			HAL_GPIO_WritePin(GPIOD, GPIO_PIN_7, GPIO_PIN_SET);//G1

	 		 		}
	 /*------------------------amber--------------------*/
	 		 if(( pinValue & 0x44 )== 0x44)
	 			 {
	 			 //			 setPWM(htim14, TIM_CHANNEL_1, 255, pulse);    //PA7
	 			 			HAL_GPIO_WritePin(GPIOA, GPIO_PIN_0, GPIO_PIN_SET);//A
	 			 			HAL_GPIO_WritePin(GPIOD, GPIO_PIN_8, GPIO_PIN_SET);//A

	 			 		}
	 /*------------------------red--------------------*/
	 		 if(( pinValue & 0x88 )== 0x88)
	 		 	{
	 		 	 //			 setPWM(htim14, TIM_CHANNEL_1, 255, pulse);    //PA7
	 		 			 	 HAL_GPIO_WritePin(GPIOD, GPIO_PIN_3, GPIO_PIN_SET);//R
	 		 			 	 HAL_GPIO_WritePin(GPIOD, GPIO_PIN_10, GPIO_PIN_SET);//R

	 		 	}

	 		 /*---------------------------for primary and secondary--------------------------*/
	 		 /*--------------green1 and green2-----------------*/
	 		 		 if(( pinValue1 & 0x33 )== 0x33)
	 		 		 {
	 		 		 //			 setPWM(htim14, TIM_CHANNEL_1, 255, pulse);    //PA7
	 		 		 			HAL_GPIO_WritePin(GPIOD, GPIO_PIN_11, GPIO_PIN_SET);//G2
	 		 		 			HAL_GPIO_WritePin(GPIOD, GPIO_PIN_15, GPIO_PIN_SET);//G1
	 		 		 			HAL_GPIO_WritePin(GPIOD, GPIO_PIN_12, GPIO_PIN_SET);//G2
	 		 		 			HAL_GPIO_WritePin(GPIOE, GPIO_PIN_15, GPIO_PIN_SET);//G1

	 		 		 		}
	 		 /*------------------------amber--------------------*/
	 		 		 if(( pinValue1 & 0x44 )== 0x44)
	 		 			 {
	 		 			 //			 setPWM(htim14, TIM_CHANNEL_1, 255, pulse);    //PA7
	 		 			 			HAL_GPIO_WritePin(GPIOD, GPIO_PIN_13, GPIO_PIN_SET);//A
	 		 			 			HAL_GPIO_WritePin(GPIOA, GPIO_PIN_3, GPIO_PIN_SET);//A

	 		 			 		}
	 		 /*------------------------red--------------------*/
	 		 		 if(( pinValue1 & 0x88 )== 0x88)
	 		 		 	{
	 		 		 	 //			 setPWM(htim14, TIM_CHANNEL_1, 255, pulse);    //PA7
	 		 		 			 	 HAL_GPIO_WritePin(GPIOD, GPIO_PIN_14, GPIO_PIN_SET);//R
	 		 		 			 	 HAL_GPIO_WritePin(GPIOC, GPIO_PIN_3, GPIO_PIN_SET);//R

	 		 		 	}

///*----------------GPIO------------------------*/
//
//	if(( pinValue & 0x03 )== 0x03){
////			 setPWM(htim14, TIM_CHANNEL_1, 255, pulse);    //PA7
//			HAL_GPIO_WritePin(GPIOD, GPIO_PIN_0, GPIO_PIN_SET);
//			HAL_GPIO_WritePin(GPIOD, GPIO_PIN_1, GPIO_PIN_SET);
//
//		}
////		else
////		{
//////			 setPWM(htim14, TIM_CHANNEL_1, 255,0);    //PA7
////			HAL_GPIO_WritePin(GPIOD, GPIO_PIN_0, GPIO_PIN_RESET);
////			HAL_GPIO_WritePin(GPIOD, GPIO_PIN_1, GPIO_PIN_RESET);
////			}
//
//
//
//	if(( pinValue & 0x01 )== 0x01){
////			 setPWM(htim14, TIM_CHANNEL_1, 255, pulse);    //PA7
//			HAL_GPIO_WritePin(GPIOD, GPIO_PIN_0, GPIO_PIN_SET);
//
//		}
////		else
////		{
//////			 setPWM(htim14, TIM_CHANNEL_1, 255,0);    //PA7
////			HAL_GPIO_WritePin(GPIOD, GPIO_PIN_0, GPIO_PIN_RESET);
////			}
//
//		if(( pinValue & 0x02 )== 0x02){
////			  setPWM(htim13, TIM_CHANNEL_1, 25, pulse);    //PA6
//			HAL_GPIO_WritePin(GPIOD, GPIO_PIN_1, GPIO_PIN_SET);
//
//		}
////		else
////		{
//////			  setPWM(htim13, TIM_CHANNEL_1, 255, 0);    //PA6
////			HAL_GPIO_WritePin(GPIOD, GPIO_PIN_1, GPIO_PIN_RESET);
////			}
//
//		if(( pinValue & 0x04 )== 0x04){
////			  setPWM(htim12, TIM_CHANNEL_1, 255, pulse);    //PB14
//			HAL_GPIO_WritePin(GPIOA, GPIO_PIN_0, GPIO_PIN_SET);
//
//		}
////		else
////		{
//////			  setPWM(htim12, TIM_CHANNEL_1, 255, 0);    //PB14
////			HAL_GPIO_WritePin(GPIOA, GPIO_PIN_0, GPIO_PIN_RESET);
////			}
//
//		if(( pinValue & 0x08 )== 0x08){
////			  setPWM(htim12, TIM_CHANNEL_2, 255, pulse);   //PB15
//			HAL_GPIO_WritePin(GPIOD, GPIO_PIN_3, GPIO_PIN_SET);
//
//		}
////		else
////		{
//////			  setPWM(htim12, TIM_CHANNEL_2, 255, 0);   //PB15
////			HAL_GPIO_WritePin(GPIOD, GPIO_PIN_3, GPIO_PIN_RESET);
////			}
//
//		if(( pinValue & 0x10 )== 0x10){
////			  setPWM(htim11, TIM_CHANNEL_1, 255, pulse);   //PB9
//			HAL_GPIO_WritePin(GPIOD, GPIO_PIN_4, GPIO_PIN_SET);
//
//		}
////		else
////		{
//////			  setPWM(htim11, TIM_CHANNEL_1, 255, 0);   //PB9
////			HAL_GPIO_WritePin(GPIOD, GPIO_PIN_4, GPIO_PIN_RESET);
////			}
//
//		if(( pinValue & 0x20 )== 0x20){
////			  setPWM(htim10, TIM_CHANNEL_1, 255, pulse);  //PB8
//			HAL_GPIO_WritePin(GPIOD, GPIO_PIN_7, GPIO_PIN_SET);
//
//		}
////		else
////		{
//////			  setPWM(htim10, TIM_CHANNEL_1, 255, 0);  //PB8
////			HAL_GPIO_WritePin(GPIOD, GPIO_PIN_7, GPIO_PIN_RESET);
////			}
//		if(( pinValue & 0x40 )== 0x40){
////			  setPWM(htim9, TIM_CHANNEL_1, 255, pulse);   //PE5
//			HAL_GPIO_WritePin(GPIOD, GPIO_PIN_8, GPIO_PIN_SET);
//
//		}
////		else
////		{
//////			  setPWM(htim9, TIM_CHANNEL_1, 255, 0);   //PE5
////			HAL_GPIO_WritePin(GPIOD, GPIO_PIN_8, GPIO_PIN_RESET);
////			}
//
//		if(( pinValue & 0x80 )== 0x80){
////			  setPWM(htim9, TIM_CHANNEL_2, 255, pulse);   //PE6
//			HAL_GPIO_WritePin(GPIOD, GPIO_PIN_10, GPIO_PIN_SET);
//
//		}
////		else
////		{
//////			  setPWM(htim9, TIM_CHANNEL_2, 255, 0);   //PE6
////			HAL_GPIO_WritePin(GPIOD, GPIO_PIN_10, GPIO_PIN_RESET);
////			}
//		//-----------------------------------
//
//		if(( pinValue1 & 0x03 )== 0x03){
//	//	        setPWM(htim8, TIM_CHANNEL_4, 255, pulse);    //PC9
//				HAL_GPIO_WritePin(GPIOD, GPIO_PIN_11, GPIO_PIN_SET);
//				HAL_GPIO_WritePin(GPIOD, GPIO_PIN_12, GPIO_PIN_SET);
//
//			}
////			else
////			{
////	//	        setPWM(htim8, TIM_CHANNEL_4, 255, 0);    //PC9
////				HAL_GPIO_WritePin(GPIOD, GPIO_PIN_11, GPIO_PIN_RESET);
////				HAL_GPIO_WritePin(GPIOD, GPIO_PIN_12, GPIO_PIN_RESET);
////				}
//
//
//
//
//		if(( pinValue1 & 0x01 )== 0x01){
////	        setPWM(htim8, TIM_CHANNEL_4, 255, pulse);    //PC9
//			HAL_GPIO_WritePin(GPIOD, GPIO_PIN_11, GPIO_PIN_SET);
//
//		}
////		else
////		{
//////	        setPWM(htim8, TIM_CHANNEL_4, 255, 0);    //PC9
////			HAL_GPIO_WritePin(GPIOD, GPIO_PIN_11, GPIO_PIN_RESET);
////			}
//		if(( pinValue1 & 0x02 )== 0x02){
////			  setPWM(htim4, TIM_CHANNEL_4, 255, pulse);    //PD15
//			HAL_GPIO_WritePin(GPIOD, GPIO_PIN_12, GPIO_PIN_SET);
//
//		}
////		else
////		{
//////			  setPWM(htim4, TIM_CHANNEL_4, 255, 0);    //PD15
////			HAL_GPIO_WritePin(GPIOD, GPIO_PIN_12, GPIO_PIN_RESET);
////			}
//		if(( pinValue1 & 0x04 )== 0x04){
////			  setPWM(htim4, TIM_CHANNEL_2, 255, pulse);    //PD13
//			HAL_GPIO_WritePin(GPIOD, GPIO_PIN_13, GPIO_PIN_SET);
//
//		}
////		else
////		{
//////			  setPWM(htim4, TIM_CHANNEL_2, 255, 0);    //PD13
////			HAL_GPIO_WritePin(GPIOD, GPIO_PIN_13, GPIO_PIN_RESET);
////			}
//		if(( pinValue1 & 0x08 )== 0x08){
////			  setPWM(htim4, TIM_CHANNEL_1, 255, pulse);   //PD12
//			HAL_GPIO_WritePin(GPIOD, GPIO_PIN_14, GPIO_PIN_SET);
//
//		}
////		else
////		{
//////			  setPWM(htim4, TIM_CHANNEL_1, 255, 0);   //PD12
////			HAL_GPIO_WritePin(GPIOD, GPIO_PIN_14, GPIO_PIN_RESET);
////			}
//		if(( pinValue1 & 0x10 )== 0x10){
////			  setPWM(htim1, TIM_CHANNEL_4, 255, pulse);   //PA11
//			HAL_GPIO_WritePin(GPIOD, GPIO_PIN_15, GPIO_PIN_SET);
//
//		}
////		else
////		{
//////			  setPWM(htim1, TIM_CHANNEL_4, 255, 0);   //PA11
////			HAL_GPIO_WritePin(GPIOD, GPIO_PIN_15, GPIO_PIN_RESET);
////			}
//		if(( pinValue1 & 0x20 )== 0x20){
////			  setPWM(htim2, TIM_CHANNEL_3, 255, pulse);  //PB10
//			HAL_GPIO_WritePin(GPIOE, GPIO_PIN_15, GPIO_PIN_SET);
//
//		}
////		else
////		{
//////			  setPWM(htim2, TIM_CHANNEL_3, 255, 0);  //PB10
////			HAL_GPIO_WritePin(GPIOE, GPIO_PIN_15, GPIO_PIN_RESET);
////			}
//		if(( pinValue1 & 0x40 )== 0x40){
////			  setPWM(htim2, TIM_CHANNEL_4, 255, pulse);   //PB11
//			HAL_GPIO_WritePin(GPIOA, GPIO_PIN_3, GPIO_PIN_SET);
//
//		}
////		else
////		{
//////			  setPWM(htim2, TIM_CHANNEL_4, 255, 0);   //PB11
////			HAL_GPIO_WritePin(GPIOA, GPIO_PIN_3, GPIO_PIN_RESET);
////			}
//		if(( pinValue1 & 0x80 )== 0x80){
////			  setPWM(htim4, TIM_CHANNEL_3, 255, pulse);   //PD14
//			HAL_GPIO_WritePin(GPIOC, GPIO_PIN_3, GPIO_PIN_SET);
//
//		}
////		else
////		{
//////			  setPWM(htim4, TIM_CHANNEL_3, 255, 0);   //PD14
////			HAL_GPIO_WritePin(GPIOC, GPIO_PIN_3, GPIO_PIN_RESET);
////			}
//

}

void SetAdcChannel(unsigned long AdcChannel)
{
	ADC_ChannelConfTypeDef sConfig = {0};

	sConfig.Channel = AdcChannel;
	sConfig.Rank = 1;
	sConfig.SamplingTime = ADC_SAMPLETIME_3CYCLES;
	HAL_ADC_ConfigChannel(&hadc2, &sConfig);
}

/* USER CODE END 4 */

void Error_Handler(void)
{
  while(1)
  {
  }
}

/************************ (C) COPYRIGHT STMicroelectronics *****END OF FILE****/
